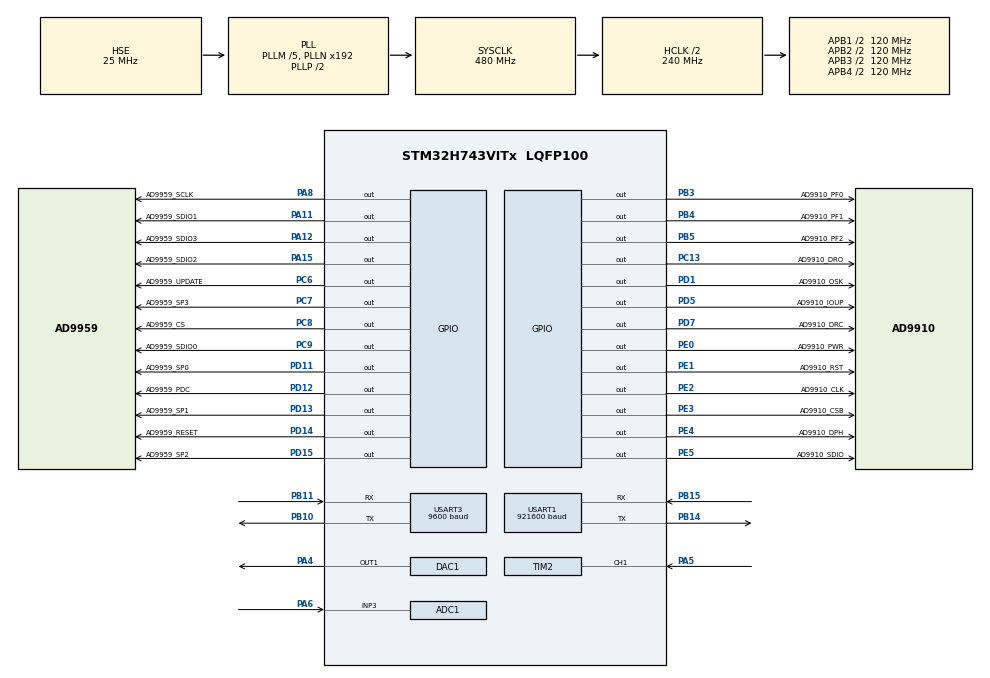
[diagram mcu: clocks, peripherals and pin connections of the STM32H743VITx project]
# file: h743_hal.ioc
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ADC1.Channel-0\#ChannelRegularConversion=ADC_CHANNEL_3
ADC1.ConversionDataManagement=ADC_CONVERSIONDATA_DMA_CIRCULAR
ADC1.ExternalTrigConv=ADC_EXTERNALTRIG_T6_TRGO
ADC1.NbrOfConversionFlag=1
ADC1.OffsetNumber-0\#ChannelRegularConversion=ADC_OFFSET_NONE
ADC1.OffsetSignedSaturation-0\#ChannelRegularConversion=DISABLE
ADC1.Rank-0\#ChannelRegularConversion=1
ADC1.Resolution=ADC_RESOLUTION_12B
ADC1.SamplingTime-0\#ChannelRegularConversion=ADC_SAMPLETIME_1CYCLE_5
ADC1.master=1
CORTEX_M7.AccessPermission_Spec=MPU_REGION_FULL_ACCESS
CORTEX_M7.BaseAddress_Spec=0x24000000
CORTEX_M7.CPU_DCache=Enabled
CORTEX_M7.CPU_ICache=Enabled
CORTEX_M7.DisableExec_Spec=MPU_INSTRUCTION_ACCESS_ENABLE
CORTEX_M7.IsShareable_Spec=MPU_ACCESS_NOT_SHAREABLE
CORTEX_M7.Size_Spec=MPU_REGION_SIZE_128KB
CORTEX_M7.SubRegionDisable_Spec=0x00
CORTEX_M7.TypeExtField_Spec=MPU_TEX_LEVEL1
CORTEX_M7.default_mode_Activation=1
DAC1.DAC1_OutputBuffer-DAC_OUT1=DAC_OUTPUTBUFFER_DISABLE
DAC1.DAC_Channel-DAC_OUT1=DAC_CHANNEL_1
DAC1.DAC_Trigger-DAC_OUT1=DAC_TRIGGER_T6_TRGO
Dma.ADC1.0.Direction=DMA_PERIPH_TO_MEMORY
Dma.ADC1.0.EventEnable=DISABLE
Dma.ADC1.0.FIFOMode=DMA_FIFOMODE_DISABLE
Dma.ADC1.0.Instance=DMA1_Stream0
Dma.ADC1.0.MemDataAlignment=DMA_MDATAALIGN_HALFWORD
Dma.ADC1.0.MemInc=DMA_MINC_ENABLE
Dma.ADC1.0.Mode=DMA_NORMAL
Dma.ADC1.0.PeriphDataAlignment=DMA_PDATAALIGN_HALFWORD
Dma.ADC1.0.PeriphInc=DMA_PINC_DISABLE
Dma.ADC1.0.Polarity=HAL_DMAMUX_REQ_GEN_RISING
Dma.ADC1.0.Priority=DMA_PRIORITY_LOW
Dma.ADC1.0.RequestNumber=1
Dma.ADC1.0.SignalID=NONE
Dma.ADC1.0.SyncEnable=DISABLE
Dma.ADC1.0.SyncPolarity=HAL_DMAMUX_SYNC_NO_EVENT
Dma.ADC1.0.SyncRequestNumber=1
Dma.ADC1.0.SyncSignalID=NONE
Dma.DAC1_CH1.3.Direction=DMA_MEMORY_TO_PERIPH
Dma.DAC1_CH1.3.EventEnable=DISABLE
Dma.DAC1_CH1.3.FIFOMode=DMA_FIFOMODE_DISABLE
Dma.DAC1_CH1.3.Instance=DMA1_Stream3
Dma.DAC1_CH1.3.MemDataAlignment=DMA_MDATAALIGN_HALFWORD
Dma.DAC1_CH1.3.MemInc=DMA_MINC_ENABLE
Dma.DAC1_CH1.3.Mode=DMA_CIRCULAR
Dma.DAC1_CH1.3.PeriphDataAlignment=DMA_PDATAALIGN_HALFWORD
Dma.DAC1_CH1.3.PeriphInc=DMA_PINC_DISABLE
Dma.DAC1_CH1.3.Polarity=HAL_DMAMUX_REQ_GEN_RISING
Dma.DAC1_CH1.3.Priority=DMA_PRIORITY_LOW
Dma.DAC1_CH1.3.RequestNumber=1
Dma.DAC1_CH1.3.SignalID=NONE
Dma.DAC1_CH1.3.SyncEnable=DISABLE
Dma.DAC1_CH1.3.SyncPolarity=HAL_DMAMUX_SYNC_NO_EVENT
Dma.DAC1_CH1.3.SyncRequestNumber=1
Dma.DAC1_CH1.3.SyncSignalID=NONE
Dma.Request0=ADC1
Dma.Request1=USART1_RX
Dma.Request2=USART3_RX
Dma.Request3=DAC1_CH1
Dma.USART1_RX.1.Direction=DMA_PERIPH_TO_MEMORY
Dma.USART1_RX.1.EventEnable=DISABLE
Dma.USART1_RX.1.FIFOMode=DMA_FIFOMODE_DISABLE
Dma.USART1_RX.1.Instance=DMA1_Stream1
Dma.USART1_RX.1.MemDataAlignment=DMA_MDATAALIGN_BYTE
Dma.USART1_RX.1.MemInc=DMA_MINC_ENABLE
Dma.USART1_RX.1.Mode=DMA_NORMAL
Dma.USART1_RX.1.PeriphDataAlignment=DMA_PDATAALIGN_BYTE
Dma.USART1_RX.1.PeriphInc=DMA_PINC_DISABLE
Dma.USART1_RX.1.Polarity=HAL_DMAMUX_REQ_GEN_RISING
Dma.USART1_RX.1.Priority=DMA_PRIORITY_LOW
Dma.USART1_RX.1.RequestNumber=1
Dma.USART1_RX.1.SignalID=NONE
Dma.USART1_RX.1.SyncEnable=DISABLE
Dma.USART1_RX.1.SyncPolarity=HAL_DMAMUX_SYNC_NO_EVENT
Dma.USART1_RX.1.SyncRequestNumber=1
Dma.USART1_RX.1.SyncSignalID=NONE
Dma.USART3_RX.2.Direction=DMA_PERIPH_TO_MEMORY
Dma.USART3_RX.2.EventEnable=DISABLE
Dma.USART3_RX.2.FIFOMode=DMA_FIFOMODE_DISABLE
Dma.USART3_RX.2.Instance=DMA1_Stream2
Dma.USART3_RX.2.MemDataAlignment=DMA_MDATAALIGN_BYTE
Dma.USART3_RX.2.MemInc=DMA_MINC_ENABLE
Dma.USART3_RX.2.Mode=DMA_NORMAL
Dma.USART3_RX.2.PeriphDataAlignment=DMA_PDATAALIGN_BYTE
Dma.USART3_RX.2.PeriphInc=DMA_PINC_DISABLE
Dma.USART3_RX.2.Polarity=HAL_DMAMUX_REQ_GEN_RISING
Dma.USART3_RX.2.Priority=DMA_PRIORITY_LOW
Dma.USART3_RX.2.RequestNumber=1
Dma.USART3_RX.2.SignalID=NONE
Dma.USART3_RX.2.SyncEnable=DISABLE
Dma.USART3_RX.2.SyncPolarity=HAL_DMAMUX_SYNC_NO_EVENT
Dma.USART3_RX.2.SyncRequestNumber=1
Dma.USART3_RX.2.SyncSignalID=NONE
Mcu.Family=STM32H7
Mcu.Name=STM32H743VITx
Mcu.Package=LQFP100
NVIC.DMA1_Stream0_IRQn=true\:0\:0\:false\:false\:true\:false\:true\:true
NVIC.DMA1_Stream1_IRQn=true\:0\:0\:false\:false\:true\:false\:true\:true
NVIC.DMA1_Stream2_IRQn=true\:0\:0\:false\:false\:true\:false\:true\:true
NVIC.DMA1_Stream3_IRQn=true\:0\:0\:false\:false\:true\:false\:true\:true
NVIC.PriorityGroup=NVIC_PRIORITYGROUP_4
NVIC.USART3_IRQn=true\:0\:0\:false\:false\:true\:true\:true\:true
PA11.GPIO_Label=AD9959_SDIO1
PA11.Signal=GPIO_Output
PA12.GPIO_Label=AD9959_SDIO3
PA12.Signal=GPIO_Output
PA13\ (JTMS/SWDIO).Mode=Serial_Wire
PA13\ (JTMS/SWDIO).Signal=DEBUG_JTMS-SWDIO
PA14\ (JTCK/SWCLK).Mode=Serial_Wire
PA14\ (JTCK/SWCLK).Signal=DEBUG_JTCK-SWCLK
PA15\ (JTDI).GPIO_Label=AD9959_SDIO2
PA15\ (JTDI).Signal=GPIO_Output
PA4.Signal=COMP_DAC11_group
PA5.Signal=S_TIM2_CH1_ETR
PA6.Signal=ADCx_INP3
PA8.GPIO_Label=AD9959_SCLK
PA8.Signal=GPIO_Output
PB10.Mode=Asynchronous
PB10.Signal=USART3_TX
PB11.Mode=Asynchronous
PB11.Signal=USART3_RX
PB14.Mode=Asynchronous
PB14.Signal=USART1_TX
PB15.Mode=Asynchronous
PB15.Signal=USART1_RX
PB3\ (JTDO/TRACESWO).GPIO_Label=AD9910_PF0
PB3\ (JTDO/TRACESWO).Signal=GPIO_Output
PB4\ (NJTRST).GPIO_Label=AD9910_PF1
PB4\ (NJTRST).Signal=GPIO_Output
PB5.GPIO_Label=AD9910_PF2
PB5.Signal=GPIO_Output
PC13.GPIO_Label=AD9910_DRO
PC13.Signal=GPIO_Output
PC14-OSC32_IN\ (OSC32_IN).Mode=LSE-External-Oscillator
PC14-OSC32_IN\ (OSC32_IN).Signal=RCC_OSC32_IN
PC15-OSC32_OUT\ (OSC32_OUT).Mode=LSE-External-Oscillator
PC15-OSC32_OUT\ (OSC32_OUT).Signal=RCC_OSC32_OUT
PC6.GPIO_Label=AD9959_UPDATE
PC6.Signal=GPIO_Output
PC7.GPIO_Label=AD9959_SP3
PC7.Signal=GPIO_Output
PC8.GPIO_Label=AD9959_CS
PC8.Signal=GPIO_Output
PC9.GPIO_Label=AD9959_SDIO0
PC9.Signal=GPIO_Output
PD1.GPIO_Label=AD9910_OSK
PD1.Signal=GPIO_Output
PD11.GPIO_Label=AD9959_SP0
PD11.Signal=GPIO_Output
PD12.GPIO_Label=AD9959_PDC
PD12.Signal=GPIO_Output
PD13.GPIO_Label=AD9959_SP1
PD13.Signal=GPIO_Output
PD14.GPIO_Label=AD9959_RESET
PD14.Signal=GPIO_Output
PD15.GPIO_Label=AD9959_SP2
PD15.Signal=GPIO_Output
PD5.GPIO_Label=AD9910_IOUP
PD5.Signal=GPIO_Output
PD7.GPIO_Label=AD9910_DRC
PD7.Signal=GPIO_Output
PE0.GPIO_Label=AD9910_PWR
PE0.Signal=GPIO_Output
PE1.GPIO_Label=AD9910_RST
PE1.Signal=GPIO_Output
PE2.GPIO_Label=AD9910_CLK
PE2.GPIO_Speed=GPIO_SPEED_FREQ_VERY_HIGH
PE2.Signal=GPIO_Output
PE3.GPIO_Label=AD9910_CSB
PE3.Signal=GPIO_Output
PE4.GPIO_Label=AD9910_DPH
PE4.Signal=GPIO_Output
PE5.GPIO_Label=AD9910_SDIO
PE5.Signal=GPIO_Output
PH0-OSC_IN\ (PH0).Mode=HSE-External-Oscillator
PH0-OSC_IN\ (PH0).Signal=RCC_OSC_IN
PH1-OSC_OUT\ (PH1).Mode=HSE-External-Oscillator
PH1-OSC_OUT\ (PH1).Signal=RCC_OSC_OUT
ProjectManager.HeapSize=0x200
ProjectManager.StackSize=0x400
ProjectManager.TargetToolchain=MDK-ARM V5.32
RCC.ADCFreq_Value=75000000
RCC.APB1Freq_Value=120000000
RCC.APB2Freq_Value=120000000
RCC.APB3Freq_Value=120000000
RCC.APB4Freq_Value=120000000
RCC.CortexFreq_Value=480000000
RCC.D1PPRE=RCC_APB3_DIV2
RCC.D2PPRE1=RCC_APB1_DIV2
RCC.D2PPRE2=RCC_APB2_DIV2
RCC.D3PPRE=RCC_APB4_DIV2
RCC.DIVM1=5
RCC.DIVM2=2
RCC.DIVN1=192
RCC.DIVN2=12
RCC.HCLKFreq_Value=240000000
RCC.HPRE=RCC_HCLK_DIV2
RCC.PLL2FRACN=0
RCC.PLL3FRACN=0
RCC.PLLFRACN=0
RCC.PLLSourceVirtual=RCC_PLLSOURCE_HSE
RCC.SYSCLKFreq_VALUE=480000000
RCC.SYSCLKSource=RCC_SYSCLKSOURCE_PLLCLK
RCC.USBFreq_Value=480000000
SH.ADCx_INP3.0=ADC1_INP3,IN3-Single-Ended
SH.COMP_DAC11_group.0=DAC1_OUT1,DAC_OUT1
SH.S_TIM2_CH1_ETR.0=TIM2_CH1,TriggerSource_TI1FP1
SH.S_TIM2_CH1_ETR.1=TIM2_CH1,Input_Capture1_from_TI1
TIM2.AutoReloadPreload=TIM_AUTORELOAD_PRELOAD_ENABLE
TIM2.Channel-Input_Capture1_from_TI1=TIM_CHANNEL_1
TIM2.Period=0xFFFFFFFF
TIM2.Prescaler=0
TIM6.AutoReloadPreload=TIM_AUTORELOAD_PRELOAD_ENABLE
TIM6.Period=10-1
TIM6.Prescaler=24-1
TIM6.TIM_MasterOutputTrigger=TIM_TRGO_UPDATE
USART1.BaudRate=921600
USART1.VirtualMode-Asynchronous=VM_ASYNC
USART3.BaudRate=9600
USART3.VirtualMode-Asynchronous=VM_ASYNC
VP_MEMORYMAP_VS_MEMORYMAP.Mode=CurAppReg
VP_TIM2_VS_ControllerModeReset.Mode=Reset Mode
VP_TIM6_VS_ClockSourceINT.Mode=Enable_Timer
board=custom

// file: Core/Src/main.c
/* USER CODE BEGIN Header */
/**
  ******************************************************************************
  * @file           : main.c
  * @brief          : Main program body
  ******************************************************************************
  * @attention
  *
  * Copyright (c) 2026 STMicroelectronics.
  * All rights reserved.
  *
  * This software is licensed under terms that can be found in the LICENSE file
  * in the root directory of this software component.
  * If no LICENSE file comes with this software, it is provided AS-IS.
  *
  ******************************************************************************
  */
/* USER CODE END Header */
#include "main.h"
#include "adc.h"
#include "dac.h"
#include "dma.h"
#include "tim.h"
#include "usart.h"
#include "gpio.h"

/* USER CODE BEGIN Includes */
#include "app_types.h"
#include "freq_measure.h"
#include "scheduler.h"
#include "serial.h"
#include "adc_app.h"
#include "ad9910.h"
#include "ad9959.h"
#include "dpsd.h"

/* USER CODE END Includes */

/* USER CODE BEGIN PV */

Wave_Struct   g_wave_info;
FreqMeasure   g_freq_measure;

extern dpsd_result_t g_dpsd_result;
static float g_dpsd_last_freq;

/* USER CODE END PV */

void SystemClock_Config(void);
static void MPU_Config(void);

int main(void)
{

  /* MPU Configuration--------------------------------------------------------*/
  MPU_Config();

  /* Enable the CPU Cache */

  /* Enable I-Cache---------------------------------------------------------*/
  SCB_EnableICache();

  /* Enable D-Cache---------------------------------------------------------*/
  SCB_EnableDCache();

  /* MCU Configuration--------------------------------------------------------*/

  /* Reset of all peripherals, Initializes the Flash interface and the Systick. */
  HAL_Init();

  /* Configure the system clock */
  SystemClock_Config();

  /* Initialize all configured peripherals */
  MX_GPIO_Init();
  MX_DMA_Init();
  MX_ADC1_Init();
  MX_TIM2_Init();
  MX_USART3_UART_Init();
  MX_USART1_UART_Init();
  MX_DAC1_Init();
  MX_TIM6_Init();
  /* USER CODE BEGIN 2 */
  Serial_RxInit(&huart1);
  Serial_RxInit(&huart3);
  FreqMeasure_Init(&g_freq_measure, &htim2);
  HAL_ADC_Start_DMA(&hadc1,(uint32_t *)adc_buffer,ADC_LEN) ;
  HAL_TIM_Base_Start(&htim6);
  Init_AD9910();
  AD9959_Init();
  Scheduler_Init();
  dpsd_init(1000000.0f, 10000.0f, ADC_LEN);
  /* USER CODE END 2 */

  /* Infinite loop */
  /* USER CODE BEGIN WHILE */
  while (1)
  {
      Scheduler_Run();
    /* USER CODE END WHILE */

  }
}

void SystemClock_Config(void)
{
  RCC_OscInitTypeDef RCC_OscInitStruct = {0};
  RCC_ClkInitTypeDef RCC_ClkInitStruct = {0};

  /** Supply configuration update enable
  */
  HAL_PWREx_ConfigSupply(PWR_LDO_SUPPLY);

  /** Configure the main internal regulator output voltage
  */
  __HAL_PWR_VOLTAGESCALING_CONFIG(PWR_REGULATOR_VOLTAGE_SCALE0);

  while(!__HAL_PWR_GET_FLAG(PWR_FLAG_VOSRDY)) {}

  /** Initializes the RCC Oscillators according to the specified parameters
  * in the RCC_OscInitTypeDef structure.
  */
  RCC_OscInitStruct.OscillatorType = RCC_OSCILLATORTYPE_HSE;
  RCC_OscInitStruct.HSEState = RCC_HSE_ON;
  RCC_OscInitStruct.PLL.PLLState = RCC_PLL_ON;
  RCC_OscInitStruct.PLL.PLLSource = RCC_PLLSOURCE_HSE;
  RCC_OscInitStruct.PLL.PLLM = 5;
  RCC_OscInitStruct.PLL.PLLN = 192;
  RCC_OscInitStruct.PLL.PLLP = 2;
  RCC_OscInitStruct.PLL.PLLQ = 2;
  RCC_OscInitStruct.PLL.PLLR = 2;
  RCC_OscInitStruct.PLL.PLLRGE = RCC_PLL1VCIRANGE_2;
  RCC_OscInitStruct.PLL.PLLVCOSEL = RCC_PLL1VCOWIDE;
  RCC_OscInitStruct.PLL.PLLFRACN = 0;
  if (HAL_RCC_OscConfig(&RCC_OscInitStruct) != HAL_OK)
  {
    Error_Handler();
  }

  /** Initializes the CPU, AHB and APB buses clocks
  */
  RCC_ClkInitStruct.ClockType = RCC_CLOCKTYPE_HCLK|RCC_CLOCKTYPE_SYSCLK
                              |RCC_CLOCKTYPE_PCLK1|RCC_CLOCKTYPE_PCLK2
                              |RCC_CLOCKTYPE_D3PCLK1|RCC_CLOCKTYPE_D1PCLK1;
  RCC_ClkInitStruct.SYSCLKSource = RCC_SYSCLKSOURCE_PLLCLK;
  RCC_ClkInitStruct.SYSCLKDivider = RCC_SYSCLK_DIV1;
  RCC_ClkInitStruct.AHBCLKDivider = RCC_HCLK_DIV2;
  RCC_ClkInitStruct.APB3CLKDivider = RCC_APB3_DIV2;
  RCC_ClkInitStruct.APB1CLKDivider = RCC_APB1_DIV2;
  RCC_ClkInitStruct.APB2CLKDivider = RCC_APB2_DIV2;
  RCC_ClkInitStruct.APB4CLKDivider = RCC_APB4_DIV2;

  if (HAL_RCC_ClockConfig(&RCC_ClkInitStruct, FLASH_LATENCY_4) != HAL_OK)
  {
    Error_Handler();
  }
}

/* USER CODE BEGIN 4 */

/* 10ms周期*/
void Task_10ms(uint16_t ticks)
{
    (void)ticks;
    adc_proc();//执行FFT或者算峰峰值
    Serial_Process();
}

/* 100ms周期 */
void Task_100ms(void)
{
    FreqMeasure_Process(&g_freq_measure, &g_wave_info);

    /* UART1 发送 DPSD 测量结果 */
    UART1_Printf("DPSD: Vpp=%.4f Vrms=%.4f Ph=%.2f Freq=%.1f SNR=%.1f DC=%.3f %s\r\n",
                 (double)g_dpsd_result.amplitude_pp,
                 (double)g_dpsd_result.amplitude_rms,
                 (double)g_dpsd_result.phase_deg,
                 (double)g_dpsd_result.frequency_hz,
                 (double)g_dpsd_result.snr_db,
                 (double)g_dpsd_result.dc_offset_v,
                 g_dpsd_result.valid ? "OK" : "INVALID");
}

/* 1秒周期*/
void Task_1sec(void)
{
}

/* 1分钟周期*/
void Task_1min(void)
{
}

/* USER CODE END 4 */

 /* MPU Configuration */

void MPU_Config(void)
{
  MPU_Region_InitTypeDef MPU_InitStruct = {0};

  /* Disables the MPU */
  HAL_MPU_Disable();

  /** Initializes and configures the Region and the memory to be protected
  */
  MPU_InitStruct.Enable = MPU_REGION_ENABLE;
  MPU_InitStruct.Number = MPU_REGION_NUMBER0;
  MPU_InitStruct.BaseAddress = 0x24000000;
  MPU_InitStruct.Size = MPU_REGION_SIZE_128KB;
  MPU_InitStruct.SubRegionDisable = 0x00;
  MPU_InitStruct.TypeExtField = MPU_TEX_LEVEL1;
  MPU_InitStruct.AccessPermission = MPU_REGION_FULL_ACCESS;
  MPU_InitStruct.DisableExec = MPU_INSTRUCTION_ACCESS_ENABLE;
  MPU_InitStruct.IsShareable = MPU_ACCESS_NOT_SHAREABLE;
  MPU_InitStruct.IsCacheable = MPU_ACCESS_NOT_CACHEABLE;
  MPU_InitStruct.IsBufferable = MPU_ACCESS_NOT_BUFFERABLE;

  HAL_MPU_ConfigRegion(&MPU_InitStruct);
  /* Enables the MPU */
  HAL_MPU_Enable(MPU_PRIVILEGED_DEFAULT);

}

void Error_Handler(void)
{
  __disable_irq();
  while (1)
  {
  }
}
